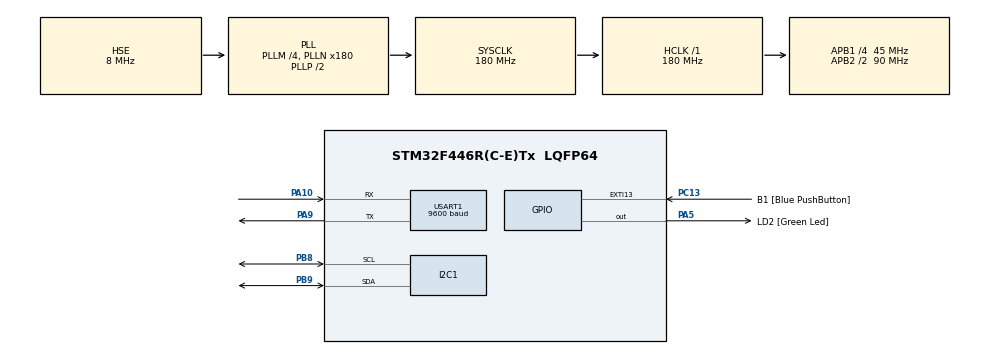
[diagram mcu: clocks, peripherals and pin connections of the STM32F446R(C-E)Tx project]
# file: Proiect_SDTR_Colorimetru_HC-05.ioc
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Dma.Request0=USART1_RX
Dma.USART1_RX.0.Direction=DMA_PERIPH_TO_MEMORY
Dma.USART1_RX.0.FIFOMode=DMA_FIFOMODE_DISABLE
Dma.USART1_RX.0.Instance=DMA2_Stream2
Dma.USART1_RX.0.MemDataAlignment=DMA_MDATAALIGN_BYTE
Dma.USART1_RX.0.MemInc=DMA_MINC_ENABLE
Dma.USART1_RX.0.Mode=DMA_NORMAL
Dma.USART1_RX.0.PeriphDataAlignment=DMA_PDATAALIGN_BYTE
Dma.USART1_RX.0.PeriphInc=DMA_PINC_DISABLE
Dma.USART1_RX.0.Priority=DMA_PRIORITY_LOW
FREERTOS.BinarySemaphores01=binarySem,Dynamic,NULL,Available
FREERTOS.CountingSemaphores01=CountingSem,3,Dynamic,NULL,0
FREERTOS.Mutexes01=messageMutex,Dynamic,NULL,Available
FREERTOS.Tasks01=dataReceive,24,128,Task_dataReceive,Default,NULL,Dynamic,NULL,NULL;dataSend_BLT,8,128,Task_dataSend_BLT,Default,NULL,Dynamic,NULL,NULL
FREERTOS.configUSE_NEWLIB_REENTRANT=1
I2C1.I2C_Mode=I2C_Fast
Mcu.Family=STM32F4
Mcu.Name=STM32F446R(C-E)Tx
Mcu.Package=LQFP64
NVIC.DMA2_Stream2_IRQn=true\:5\:0\:false\:false\:true\:true\:false\:true\:true
NVIC.PriorityGroup=NVIC_PRIORITYGROUP_4
NVIC.TIM1_UP_TIM10_IRQn=true\:15\:0\:false\:false\:true\:false\:false\:true\:true
NVIC.TimeBase=TIM1_UP_TIM10_IRQn
NVIC.TimeBaseIP=TIM1
NVIC.USART1_IRQn=true\:5\:0\:false\:false\:true\:true\:true\:true\:true
PA10.Mode=Asynchronous
PA10.Signal=USART1_RX
PA13.GPIO_Label=TMS
PA13.Mode=Serial_Wire
PA13.Signal=SYS_JTMS-SWDIO
PA14.GPIO_Label=TCK
PA14.Mode=Serial_Wire
PA14.Signal=SYS_JTCK-SWCLK
PA2.GPIO_Label=USART_TX
PA2.Signal=USART2_TX
PA3.GPIO_Label=USART_RX
PA3.Signal=USART2_RX
PA5.GPIO_Label=LD2 [Green Led]
PA5.Signal=GPIO_Output
PA9.Mode=Asynchronous
PA9.Signal=USART1_TX
PB3.GPIO_Label=SWO
PB3.Signal=SYS_JTDO-SWO
PB4.Signal=I2C3_SDA
PB8.Mode=I2C
PB8.Signal=I2C1_SCL
PB9.Mode=I2C
PB9.Signal=I2C1_SDA
PC13.GPIO_Label=B1 [Blue PushButton]
PC13.GPIO_ModeDefaultEXTI=GPIO_MODE_IT_FALLING
PC13.Signal=GPXTI13
PC14-OSC32_IN.Mode=LSE-External-Oscillator
PC14-OSC32_IN.Signal=RCC_OSC32_IN
PC15-OSC32_OUT.Mode=LSE-External-Oscillator
PC15-OSC32_OUT.Signal=RCC_OSC32_OUT
PH0-OSC_IN.Mode=HSE-External-Oscillator
PH0-OSC_IN.Signal=RCC_OSC_IN
PH1-OSC_OUT.Mode=HSE-External-Oscillator
PH1-OSC_OUT.Signal=RCC_OSC_OUT
ProjectManager.HeapSize=0x200
ProjectManager.StackSize=0x400
ProjectManager.TargetToolchain=STM32CubeIDE
RCC.48MHZClocksFreq_Value=84000000
RCC.AHBFreq_Value=180000000
RCC.APB1CLKDivider=RCC_HCLK_DIV4
RCC.APB1Freq_Value=45000000
RCC.APB1TimFreq_Value=90000000
RCC.APB2CLKDivider=RCC_HCLK_DIV2
RCC.APB2Freq_Value=90000000
RCC.APB2TimFreq_Value=180000000
RCC.CortexFreq_Value=180000000
RCC.FLatency-AdvancedSettings=FLASH_LATENCY_5
RCC.HCLKFreq_Value=180000000
RCC.HSE_VALUE=8000000
RCC.HSI_VALUE=16000000
RCC.PLLM=4
RCC.PLLN=180
RCC.PLLSourceVirtual=RCC_PLLSOURCE_HSE
RCC.SYSCLKFreq_VALUE=180000000
RCC.SYSCLKSource=RCC_SYSCLKSOURCE_PLLCLK
RCC.USBFreq_Value=180000000
RCC.VCOOutputFreq_Value=360000000
USART1.BaudRate=9600
USART1.VirtualMode=VM_ASYNC
VP_FREERTOS_VS_CMSIS_V2.Mode=CMSIS_V2
VP_SYS_VS_tim1.Mode=TIM1
board=NUCLEO-F446RE

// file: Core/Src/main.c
/* USER CODE BEGIN Header */
/**
  ******************************************************************************
  * @file           : main.c
  * @brief          : Main program body
  ******************************************************************************
  * @attention
  *
  * Copyright (c) 2024 STMicroelectronics.
  * All rights reserved.
  *
  * This software is licensed under terms that can be found in the LICENSE file
  * in the root directory of this software component.
  * If no LICENSE file comes with this software, it is provided AS-IS.
  *
  ******************************************************************************
  */
/* USER CODE END Header */
#include "main.h"
#include "cmsis_os.h"

/* USER CODE BEGIN Includes */

#include <stdio.h>
#include <string.h>
#include <stdbool.h>
#include <stdlib.h>
#include <stdlib.h>
#include "math.h"
#include "semphr.h"

/* USER CODE END Includes */

/* USER CODE BEGIN PTD */

// HC-05 Message Struct
struct message{
	uint8_t *rgb;
	int total_cycles;
};

/* USER CODE END PTD */

/* USER CODE BEGIN PD */

// TCS34725

#define ADDRESS         0x29 // I2C Address
#define COMMAND_BIT     0x80

#define ENABLE          0x00 // Enable states and interrupts
#define ENABLE_PON      0x01 // Power On
#define ENABLE_AEN      0x02 // ADC Enable

#define ATIME           0x01 // Register for Integration Time
#define CONTROL         0x0F // Register for Gain

#define CDATAL 			0x14
#define RDATAL			0x16
#define GDATAL			0x18
#define BDATAL 			0x1A

#define ITIME 			0x00
#define GAIN 			0x00

/* USER CODE END PD */

I2C_HandleTypeDef hi2c1;

UART_HandleTypeDef huart1;
DMA_HandleTypeDef hdma_usart1_rx;

/* Definitions for dataReceive */
osThreadId_t dataReceiveHandle;
const osThreadAttr_t dataReceive_attributes = {
  .name = "dataReceive",
  .stack_size = 128 * 4,
  .priority = (osPriority_t) osPriorityNormal,
};
/* Definitions for dataSend_BLT */
osThreadId_t dataSend_BLTHandle;
const osThreadAttr_t dataSend_BLT_attributes = {
  .name = "dataSend_BLT",
  .stack_size = 128 * 4,
  .priority = (osPriority_t) osPriorityLow,
};
/* Definitions for messageMutex */
osMutexId_t messageMutexHandle;
const osMutexAttr_t messageMutex_attributes = {
  .name = "messageMutex"
};
/* Definitions for binarySem */
osSemaphoreId_t binarySemHandle;
const osSemaphoreAttr_t binarySem_attributes = {
  .name = "binarySem"
};
/* Definitions for CountingSem */
osSemaphoreId_t CountingSemHandle;
const osSemaphoreAttr_t CountingSem_attributes = {
  .name = "CountingSem"
};
/* USER CODE BEGIN PV */

struct message msg;
uint8_t buffer[1];
bool isToggled = false;

int* itime = 0x00;
int* gain = 0x00;

/* USER CODE END PV */

void SystemClock_Config(void);
static void MX_GPIO_Init(void);
static void MX_DMA_Init(void);
static void MX_USART1_UART_Init(void);
static void MX_I2C1_Init(void);
void Task_dataReceive(void *argument);
void Task_dataSend_BLT(void *argument);

/* USER CODE BEGIN 0 */

// TCS34725 Colour Sensor

void tcs34725_i2c_write(uint8_t reg, uint32_t value) {
    uint8_t buffer[2];
    buffer[0] = COMMAND_BIT | reg;
    buffer[1] = value & 0xFF;
    HAL_I2C_Master_Transmit(&hi2c1, (ADDRESS << 1), buffer, 2, HAL_MAX_DELAY);
}

// Read a single register
uint8_t tcs34725_i2c_read8(uint8_t reg) {
	uint8_t buffer[2];

	buffer[0] = (COMMAND_BIT | reg);

	HAL_I2C_Master_Transmit(&hi2c1, (ADDRESS << 1), buffer, 1, HAL_MAX_DELAY);
	HAL_I2C_Master_Receive(&hi2c1, (ADDRESS << 1), buffer, 1, HAL_MAX_DELAY);

	return buffer[0];
}

uint16_t tcs34725_i2c_read16(uint8_t reg) {
	uint16_t time_delay = 1;
    uint16_t value;
    uint8_t reg_value[2];
    uint8_t cmd[2];
    cmd[0] = COMMAND_BIT | reg;

    HAL_I2C_Master_Transmit(&hi2c1, (ADDRESS << 1), cmd, 1, time_delay);
    HAL_I2C_Master_Receive(&hi2c1, (ADDRESS << 1), reg_value, 2, time_delay);

    value = reg_value[0];
    value <<= 8;
    value |= reg_value[1];

    return value;
}

void tcs34725_init_sensor(){
	tcs34725_i2c_write(ENABLE, ENABLE_PON);					// Power
	HAL_Delay(3);

	tcs34725_i2c_write(ATIME, ITIME);						// Integration time
	tcs34725_i2c_write(CONTROL, GAIN);						// Gain

	uint8_t reg_value = tcs34725_i2c_read8(ATIME);

	char reg_str[5];
	sprintf(reg_str, "%d", reg_value);

	char temp_msg[64];
	strcpy(temp_msg, "Sensor Integration Time: ");
	strcat(temp_msg, reg_str);
	strcat(temp_msg, "\n");
	HAL_UART_Transmit(&huart1, (uint8_t*)temp_msg, strlen(temp_msg), HAL_MAX_DELAY);

	tcs34725_i2c_write(ENABLE, ENABLE_PON | ENABLE_AEN);    // ADC Enable

}

void tcs34725_integration_wait_time(int itime){
	int wait_time = 0;
	switch(itime){
	case 255:
		wait_time = 2.4;
		break;
	case 246:
		wait_time = 24;
		break;
	case 213:
		wait_time = 101;
		break;
	case 192:
		wait_time = 154;
		break;
	case 0:
		wait_time = 700;
		break;
	}
	osDelay(wait_time);
}

void tcs34725_update_config_itime(int itime){
	tcs34725_i2c_write(ENABLE, ENABLE_PON);    // Pause Measuring
	tcs34725_i2c_write(ATIME, itime);
	tcs34725_i2c_write(ENABLE, ENABLE_PON | ENABLE_AEN);
}

void tcs34725_update_config_gain(int gain, int itime){
	tcs34725_i2c_write(ENABLE, ENABLE_PON ); // Pause Measuring
	tcs34725_i2c_write(CONTROL, gain);

	tcs34725_i2c_write(ENABLE, ENABLE_PON | ENABLE_AEN);    // ADC Enable
}

void read_colour_data(uint16_t *r, uint16_t *g, uint16_t *b, uint16_t *c){
	// Read colour from all registers

	*r = tcs34725_i2c_read16(RDATAL);
	*g = tcs34725_i2c_read16(GDATAL);
	*b = tcs34725_i2c_read16(BDATAL);
	*c = tcs34725_i2c_read16(CDATAL);

	int itime = tcs34725_i2c_read8(ATIME);

	tcs34725_integration_wait_time(itime);
}

uint8_t *normalize_colour_data(uint16_t *r, uint16_t *g, uint16_t *b, uint16_t *clear){
	uint8_t *colours = (uint8_t*) malloc (3 * sizeof(uint8_t));
	// Normalize to 0-255
	if(*clear == 0){	// clear 0 => black
		*(colours + 0) = 0;
		*(colours + 1) = 0;
		*(colours + 2) = 0;
		return colours;
	}

	*(colours + 0) = *r * 255 / *clear;
	*(colours + 1) = *g * 255 / *clear;
	*(colours + 2) = *b * 255 / *clear;

	return colours;
}

/* USER CODE END 0 */

int main(void)
{

  /* MCU Configuration--------------------------------------------------------*/

  /* Reset of all peripherals, Initializes the Flash interface and the Systick. */
  HAL_Init();

  /* Configure the system clock */
  SystemClock_Config();

  /* Initialize all configured peripherals */
  MX_GPIO_Init();
  MX_DMA_Init();
  MX_USART1_UART_Init();
  MX_I2C1_Init();
  /* USER CODE BEGIN 2 */

  if (!(CoreDebug->DEMCR & CoreDebug_DEMCR_TRCENA_Msk)) {
	  CoreDebug->DEMCR |= CoreDebug_DEMCR_TRCENA_Msk; // Enable the use of DWT
  }
  DWT->CYCCNT = 0; // Reset the cycle counter
  DWT->CTRL |= DWT_CTRL_CYCCNTENA_Msk; // Enable the cycle counter

  tcs34725_init_sensor();
  char *message = "Waiting command...";
  HAL_UART_Transmit(&huart1, (uint8_t*)message, strlen(message), HAL_MAX_DELAY);
  HAL_UART_Receive_IT(&huart1, buffer, 1);

  /* USER CODE END 2 */

  /* Init scheduler */
  osKernelInitialize();
  /* Create the mutex(es) */
  /* creation of messageMutex */
  messageMutexHandle = osMutexNew(&messageMutex_attributes);

  /* Create the semaphores(s) */
  /* creation of binarySem */
  binarySemHandle = osSemaphoreNew(1, 1, &binarySem_attributes);

  /* creation of CountingSem */
  CountingSemHandle = osSemaphoreNew(3, 0, &CountingSem_attributes);

  /* Create the thread(s) */
  /* creation of dataReceive */
  dataReceiveHandle = osThreadNew(Task_dataReceive, NULL, &dataReceive_attributes);

  /* creation of dataSend_BLT */
  dataSend_BLTHandle = osThreadNew(Task_dataSend_BLT, NULL, &dataSend_BLT_attributes);

  /* Start scheduler */
  osKernelStart();

  /* We should never get here as control is now taken by the scheduler */

  /* Infinite loop */
  while (1)
  {

  }
}

void SystemClock_Config(void)
{
  RCC_OscInitTypeDef RCC_OscInitStruct = {0};
  RCC_ClkInitTypeDef RCC_ClkInitStruct = {0};

  /** Configure the main internal regulator output voltage
  */
  __HAL_RCC_PWR_CLK_ENABLE();
  __HAL_PWR_VOLTAGESCALING_CONFIG(PWR_REGULATOR_VOLTAGE_SCALE1);

  /** Initializes the RCC Oscillators according to the specified parameters
  * in the RCC_OscInitTypeDef structure.
  */
  RCC_OscInitStruct.OscillatorType = RCC_OSCILLATORTYPE_HSE;
  RCC_OscInitStruct.HSEState = RCC_HSE_ON;
  RCC_OscInitStruct.PLL.PLLState = RCC_PLL_ON;
  RCC_OscInitStruct.PLL.PLLSource = RCC_PLLSOURCE_HSE;
  RCC_OscInitStruct.PLL.PLLM = 4;
  RCC_OscInitStruct.PLL.PLLN = 180;
  RCC_OscInitStruct.PLL.PLLP = RCC_PLLP_DIV2;
  RCC_OscInitStruct.PLL.PLLQ = 2;
  RCC_OscInitStruct.PLL.PLLR = 2;
  if (HAL_RCC_OscConfig(&RCC_OscInitStruct) != HAL_OK)
  {
    Error_Handler();
  }

  /** Activate the Over-Drive mode
  */
  if (HAL_PWREx_EnableOverDrive() != HAL_OK)
  {
    Error_Handler();
  }

  /** Initializes the CPU, AHB and APB buses clocks
  */
  RCC_ClkInitStruct.ClockType = RCC_CLOCKTYPE_HCLK|RCC_CLOCKTYPE_SYSCLK
                              |RCC_CLOCKTYPE_PCLK1|RCC_CLOCKTYPE_PCLK2;
  RCC_ClkInitStruct.SYSCLKSource = RCC_SYSCLKSOURCE_PLLCLK;
  RCC_ClkInitStruct.AHBCLKDivider = RCC_SYSCLK_DIV1;
  RCC_ClkInitStruct.APB1CLKDivider = RCC_HCLK_DIV4;
  RCC_ClkInitStruct.APB2CLKDivider = RCC_HCLK_DIV2;

  if (HAL_RCC_ClockConfig(&RCC_ClkInitStruct, FLASH_LATENCY_5) != HAL_OK)
  {
    Error_Handler();
  }
}

static void MX_I2C1_Init(void)
{

  hi2c1.Instance = I2C1;
  hi2c1.Init.ClockSpeed = 400000;
  hi2c1.Init.DutyCycle = I2C_DUTYCYCLE_2;
  hi2c1.Init.OwnAddress1 = 0;
  hi2c1.Init.AddressingMode = I2C_ADDRESSINGMODE_7BIT;
  hi2c1.Init.DualAddressMode = I2C_DUALADDRESS_DISABLE;
  hi2c1.Init.OwnAddress2 = 0;
  hi2c1.Init.GeneralCallMode = I2C_GENERALCALL_DISABLE;
  hi2c1.Init.NoStretchMode = I2C_NOSTRETCH_DISABLE;
  if (HAL_I2C_Init(&hi2c1) != HAL_OK)
  {
    Error_Handler();
  }

}

static void MX_USART1_UART_Init(void)
{

  huart1.Instance = USART1;
  huart1.Init.BaudRate = 9600;
  huart1.Init.WordLength = UART_WORDLENGTH_8B;
  huart1.Init.StopBits = UART_STOPBITS_1;
  huart1.Init.Parity = UART_PARITY_NONE;
  huart1.Init.Mode = UART_MODE_TX_RX;
  huart1.Init.HwFlowCtl = UART_HWCONTROL_NONE;
  huart1.Init.OverSampling = UART_OVERSAMPLING_16;
  if (HAL_UART_Init(&huart1) != HAL_OK)
  {
    Error_Handler();
  }

}

static void MX_DMA_Init(void)
{

  /* DMA controller clock enable */
  __HAL_RCC_DMA2_CLK_ENABLE();

  /* DMA interrupt init */
  /* DMA2_Stream2_IRQn interrupt configuration */
  HAL_NVIC_SetPriority(DMA2_Stream2_IRQn, 5, 0);
  HAL_NVIC_EnableIRQ(DMA2_Stream2_IRQn);

}

static void MX_GPIO_Init(void)
{
  GPIO_InitTypeDef GPIO_InitStruct = {0};

  /* GPIO Ports Clock Enable */
  __HAL_RCC_GPIOC_CLK_ENABLE();
  __HAL_RCC_GPIOH_CLK_ENABLE();
  __HAL_RCC_GPIOA_CLK_ENABLE();
  __HAL_RCC_GPIOB_CLK_ENABLE();

  /*Configure GPIO pin Output Level */
  HAL_GPIO_WritePin(LD2_GPIO_Port, LD2_Pin, GPIO_PIN_RESET);

  /*Configure GPIO pin : B1_Pin */
  GPIO_InitStruct.Pin = B1_Pin;
  GPIO_InitStruct.Mode = GPIO_MODE_IT_FALLING;
  GPIO_InitStruct.Pull = GPIO_NOPULL;
  HAL_GPIO_Init(B1_GPIO_Port, &GPIO_InitStruct);

  /*Configure GPIO pins : USART_TX_Pin USART_RX_Pin */
  GPIO_InitStruct.Pin = USART_TX_Pin|USART_RX_Pin;
  GPIO_InitStruct.Mode = GPIO_MODE_AF_PP;
  GPIO_InitStruct.Pull = GPIO_NOPULL;
  GPIO_InitStruct.Speed = GPIO_SPEED_FREQ_VERY_HIGH;
  GPIO_InitStruct.Alternate = GPIO_AF7_USART2;
  HAL_GPIO_Init(GPIOA, &GPIO_InitStruct);

  /*Configure GPIO pin : LD2_Pin */
  GPIO_InitStruct.Pin = LD2_Pin;
  GPIO_InitStruct.Mode = GPIO_MODE_OUTPUT_PP;
  GPIO_InitStruct.Pull = GPIO_NOPULL;
  GPIO_InitStruct.Speed = GPIO_SPEED_FREQ_LOW;
  HAL_GPIO_Init(LD2_GPIO_Port, &GPIO_InitStruct);

  /*Configure GPIO pin : PB4 */
  GPIO_InitStruct.Pin = GPIO_PIN_4;
  GPIO_InitStruct.Mode = GPIO_MODE_AF_OD;
  GPIO_InitStruct.Pull = GPIO_NOPULL;
  GPIO_InitStruct.Speed = GPIO_SPEED_FREQ_VERY_HIGH;
  GPIO_InitStruct.Alternate = GPIO_AF4_I2C3;
  HAL_GPIO_Init(GPIOB, &GPIO_InitStruct);

}

/* USER CODE BEGIN 4 */

void HAL_UART_RxCpltCallback(UART_HandleTypeDef *huart){
	HAL_UART_Receive_IT(&huart1, buffer, 1);

	char temp_msg[32];
	char str_itime[6];
	char str_gain[6];
	int itime = 0;
	int gain = 0;

	switch(buffer[0]){
	case '0':
		HAL_UART_Transmit(&huart1, (uint8_t *)"!App OFF!\n", 10, HAL_MAX_DELAY);
		isToggled = false;
		break;
	case '1':
		HAL_UART_Transmit(&huart1, (uint8_t *)"!App ON!\n", 9, HAL_MAX_DELAY);
		isToggled = true;
		break;
	case '2':
		itime = 0xFF;
		sprintf(str_itime, "0x%02X", itime);

		strcpy(temp_msg, "!Set integration time to ");
		strcat(temp_msg, str_itime);
		strcat(temp_msg, "!\n");
		HAL_UART_Transmit(&huart1, (uint8_t*) temp_msg, strlen(temp_msg), HAL_MAX_DELAY);
		tcs34725_update_config_itime(itime);
		break;
	case '3':
		itime = 0xF6;
		sprintf(str_itime, "0x%02X", itime);

		strcpy(temp_msg, "!Set integration time to ");
		strcat(temp_msg, str_itime);
		strcat(temp_msg, "!\n");
		HAL_UART_Transmit(&huart1, (uint8_t*) temp_msg, strlen(temp_msg), HAL_MAX_DELAY);
		tcs34725_update_config_itime(itime);
		break;
	case '4':
		itime = 0xD5;
		sprintf(str_itime, "0x%02X", itime);

		strcpy(temp_msg, "!Set integration time to ");
		strcat(temp_msg, str_itime);
		strcat(temp_msg, "!\n");
		HAL_UART_Transmit(&huart1, (uint8_t*) temp_msg, strlen(temp_msg), HAL_MAX_DELAY);
		tcs34725_update_config_itime(itime);
		break;
	case '5':
		itime = 0xC0;
		sprintf(str_itime, "0x%02X", itime);

		strcpy(temp_msg, "!Set integration time to ");
		strcat(temp_msg, str_itime);
		strcat(temp_msg, "!\n");
		HAL_UART_Transmit(&huart1, (uint8_t*) temp_msg, strlen(temp_msg), HAL_MAX_DELAY);
		tcs34725_update_config_itime(itime);
		break;
	case '6':
		itime = 0x00;
		sprintf(str_itime, "0x%02X", itime);

		strcpy(temp_msg, "!Set integration time to ");
		strcat(temp_msg, str_itime);
		strcat(temp_msg, "!\n");
		HAL_UART_Transmit(&huart1, (uint8_t*) temp_msg, strlen(temp_msg), HAL_MAX_DELAY);
		tcs34725_update_config_itime(itime);
		break;
	case '7':
		gain = 0x00;
		sprintf(str_gain, "0x%02X", gain);

		strcpy(temp_msg, "!Set gain to ");
		strcat(temp_msg, str_gain);
		strcat(temp_msg, "!\n");
		HAL_UART_Transmit(&huart1, (uint8_t*) temp_msg, strlen(temp_msg), HAL_MAX_DELAY);
		tcs34725_update_config_gain(gain, itime);
		break;
	case '8':
		gain = 0x01;
		sprintf(str_gain, "0x%02X", gain);

		strcpy(temp_msg, "!Set gain to ");
		strcat(temp_msg, str_gain);
		strcat(temp_msg, "!\n");
		HAL_UART_Transmit(&huart1, (uint8_t*) temp_msg, strlen(temp_msg), HAL_MAX_DELAY);
		tcs34725_update_config_gain(gain, itime);
		break;
	case '9':
		gain = 0x10;
		sprintf(str_gain, "0x%02X", gain);

		strcpy(temp_msg, "!Set gain to ");
		strcat(temp_msg, str_gain);
		strcat(temp_msg, "!\n");
		HAL_UART_Transmit(&huart1, (uint8_t*) temp_msg, strlen(temp_msg), HAL_MAX_DELAY);
		tcs34725_update_config_gain(gain, itime);
		break;
	case 'A':
		gain = 0x11;
		sprintf(str_gain, "0x%02X", gain);

		strcpy(temp_msg, "!Set gain to ");
		strcat(temp_msg, str_gain);
		strcat(temp_msg, "!\n");
		HAL_UART_Transmit(&huart1, (uint8_t*) temp_msg, strlen(temp_msg), HAL_MAX_DELAY);
		tcs34725_update_config_gain(gain, itime);
		break;

	}
}

/* USER CODE END 4 */

void Task_dataReceive(void *argument)
{
  /* USER CODE BEGIN 5 */

	uint16_t *r = (uint16_t*) malloc (sizeof(uint16_t));
	uint16_t *g = (uint16_t*) malloc (sizeof(uint16_t));
	uint16_t *b = (uint16_t*) malloc (sizeof(uint16_t));
	uint16_t *c = (uint16_t*) malloc (sizeof(uint16_t));
//	int start_cycle;
  /* Infinite loop */
  for(;;){
	if(isToggled){
		int start_cycle = DWT->CYCCNT;						// timing start
		if(xSemaphoreTake(messageMutexHandle, portMAX_DELAY)){
			  read_colour_data(r, g, b, c);					// get color
			  msg.rgb = normalize_colour_data(r, g, b, c);	// normalize and store
			  int end_cycle = DWT->CYCCNT;					// timing end
			  msg.total_cycles = end_cycle - start_cycle;	// store cycles taken
			  xSemaphoreGive(messageMutexHandle);
		}
	  }
    osDelay(1);
  }
  /* USER CODE END 5 */
}

void Task_dataSend_BLT(void *argument)
{
  /* USER CODE BEGIN Task_dataSend_BLT */
	uint8_t r;
	uint8_t g;
	uint8_t b;
	int cycles;

	// Variables for the colour values detected
	char r_hex_str[3]; // Red in HEX as char
	char g_hex_str[3]; // Green in HEX as char
	char b_hex_str[3]; // Blue in HEX as char
	char cycles_str[16];

	/* Infinite loop */
  for(;;)
  {
	  if(isToggled){
			  char temp_msg[64] = "";

			  // Variables for the colour values detected
			  if(xSemaphoreTake(messageMutexHandle, portMAX_DELAY)){
					  r = msg.rgb[0]; // Red value
					  g = msg.rgb[1]; // Green value
					  b = msg.rgb[2]; // Blue value
					  cycles = msg.total_cycles;
			  	  xSemaphoreGive(messageMutexHandle);
			  }

			  // Convert values to hex and char
			  sprintf(r_hex_str, "%02X", r);
			  sprintf(g_hex_str, "%02X", g);
			  sprintf(b_hex_str, "%02X", b);
			  sprintf(cycles_str, "%d", cycles);

			  // Crafts message
			  strcpy(temp_msg, "#");
			  strcat(temp_msg, r_hex_str);
			  strcat(temp_msg, g_hex_str);
			  strcat(temp_msg, b_hex_str);
			  strcat(temp_msg, " ");
			  strcat(temp_msg, cycles_str);
			  strcat(temp_msg, "\n");

			  HAL_UART_Transmit(&huart1, (uint8_t*)temp_msg, strlen(temp_msg), HAL_MAX_DELAY);
			  osDelay(4); // delay send message
	  }
    osDelay(1);
  }
  /* USER CODE END Task_dataSend_BLT */
}

void HAL_TIM_PeriodElapsedCallback(TIM_HandleTypeDef *htim)
{
  if (htim->Instance == TIM1) {
    HAL_IncTick();
  }
}

void Error_Handler(void)
{
  __disable_irq();
  while (1)
  {
  }
}
